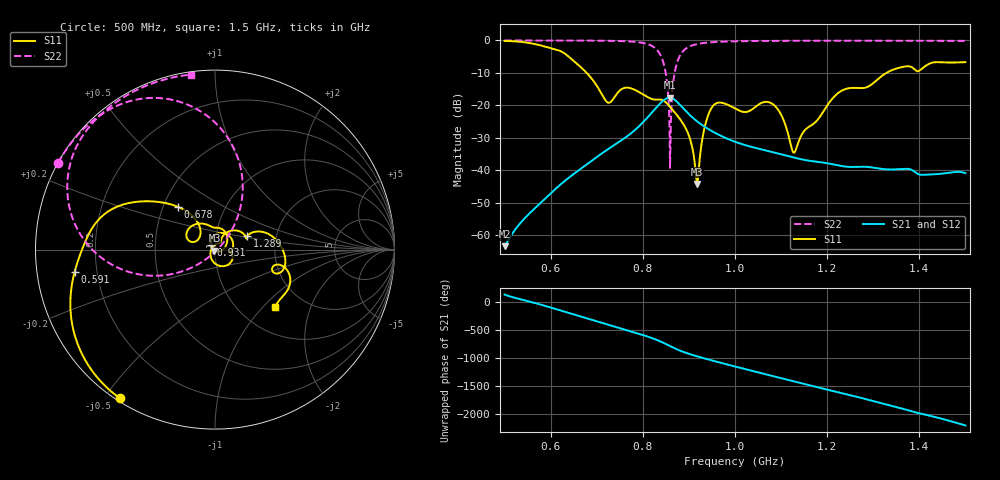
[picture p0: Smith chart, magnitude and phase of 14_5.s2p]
! TOUCHSTONE file generated by CST MICROWAVE STUDIO
! Date and time: Fri Oct  2 19:10:06 2020
! Project name: Scenario_1_Free_Space_out_of_line.cst
! Parameters = {Lambda=346.42; Step_1=17.321; dy1=122.207; dx1=866; L_HA=400; MT=2.54; Rad_Dielectric=30; Rad_Lower=7.3; Rad_Upper=30; a_HA=580; a_WG=246; b_HA=500; b_WG=121; c_HA=0; c_WG=187; d_feed=85; h_feed=15; h_lower=18; h_upper=40}
! Header version: 2018
! Port assignment regex: !\s*Touchstone port\s*([0-9]+)\s*=\s*(CST MWS port|CST DS port)\s*([0-9]+|Zmin|Zmax)\s*\(\"(.*)\"\)(\s*mode\s*([0-9]+))?.*
! Touchstone port assignment:
! Touchstone port 1 = CST MWS port 1 ("")
! Touchstone port 2 = CST MWS port 2 ("")
# GHz S DB R 50
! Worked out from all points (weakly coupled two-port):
!   1003 points, 500 MHz to 1.5 GHz, reference 50 ohm
!   highest |S21| = -17.70 dB at 858 MHz (marker M1); lowest = -63.5 dB at 500 MHz (marker M2)
!   lowest |S11| = -44.3 dB at 918 MHz (marker M3), VSWR 1.01, Z = 49.7 - j0.516 ohm
!   |S11| at or under -10 dB: 678 MHz to 1.329 GHz (650.8 MHz wide, 64.9 % of centre)
!   |S22| runs from -39.3 to 0.0 dB; largest |S21 - S12| = 0.00014
!   S11 on the Smith chart (normalised r, x): 500 MHz: 0.01, -0.55; 591 MHz: 0.12, -0.08; 678 MHz: 0.59, +0.32; 931 MHz: 0.95, +0.05; 1.289 GHz: 1.42, +0.22; 1.5 GHz: 1.43, -1.17
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0.5  -0.15 -122.5  -63.46 141.4  -63.46 141.4  -0.01 151.1
0.591  -2.02 -170.9  -48.37 -68.2  -48.37 -68.3  -0.02 144.8
0.667  -8.46 136.7  -39.41 102.9  -39.41 102.9  -0.04 138.3
0.678  -10.00 131.0  -38.27 76.5  -38.27 76.5  -0.05 137.2
0.724  -19.16 141.8  -33.58 -35.4  -33.58 -35.4  -0.11 131.6
0.764  -14.56 143.1  -29.78 -132.5  -29.78 -132.5  -0.26 124.5
0.834  -18.24 83.6  -19.96 38.4  -19.96 38.4  -3.52 86.6
0.848  -18.85 61.2  -18.16 -13.4  -18.16 -13.4  -8.81 64.8
0.858  -20.31 45.6  -17.70 -54.2  -17.70 -54.2  -27.57 34.9
0.877  -23.57 20.9  -19.34 -127.9  -19.34 -127.9  -5.76 -166.9
0.901  -29.77 -14.8  -22.89 160.1  -22.89 160.1  -1.87 168.3
0.918  -44.28 -121.8  -24.99 117.5  -24.99 117.5  -1.11 159.1
0.931  -28.88 133.1  -26.33 87.0  -26.33 87.0  -0.81 154.3
0.956  -19.68 61.7  -28.45 30.8  -28.45 30.8  -0.49 147.8
1  -20.98 -4.6  -31.25 -63.4  -31.25 -63.4  -0.26 140.3
1.082  -19.65 -62.5  -34.43 125.4  -34.43 125.4  -0.14 131.3
1.128  -34.65 145.6  -36.12 29.8  -36.12 29.8  -0.11 127.3
1.167  -26.05 51.7  -37.23 -48.3  -37.23 -48.3  -0.09 124.1
1.227  -15.90 41.5  -38.64 -171.1  -38.64 -171.1  -0.09 119.5
1.289  -14.24 22.7  -39.03 62.1  -39.03 62.1  -0.09 114.8
1.334  -9.60 12.3  -39.79 -32.6  -39.79 -32.6  -0.09 111.4
1.5  -6.69 -44.1  -40.92 -36.5  -41.04 -37.0  -0.14 97.9
